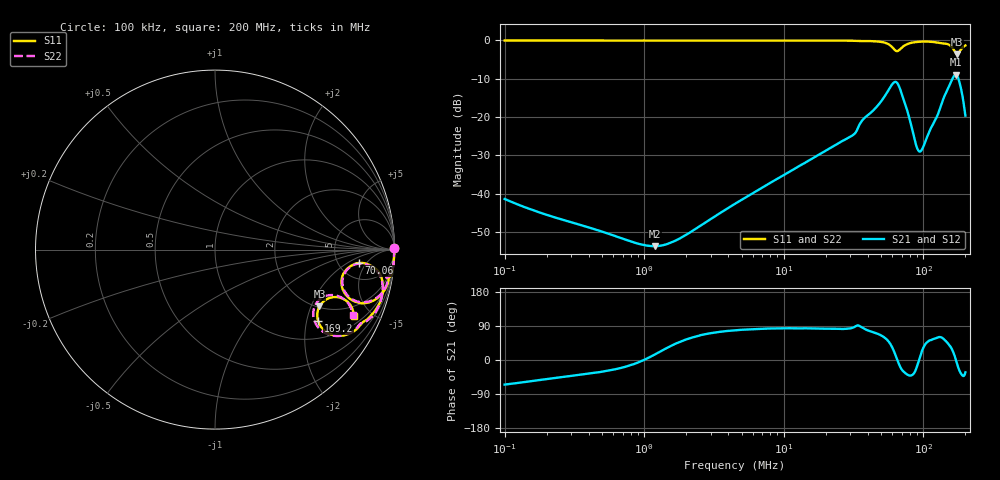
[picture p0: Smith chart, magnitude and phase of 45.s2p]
#  HZ  S  RI  R  50.00
! Rohde & Schwarz Vector Network Analyzer
! Rohde-Schwarz,ZNLE6-2Port,1323001256200024,1.71.1.10-23.02.1.238
! Created: UTC 4/7/2025, 2:43:51 AM
! freq[Hz]  re:S11  im:S11  re:S21  im:S21  re:S12  im:S12  re:S22  im:S22
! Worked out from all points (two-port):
!   1001 points, 100 kHz to 200 MHz, reference 50 ohm
!   highest |S21| = -8.94 dB at 170.5 MHz (marker M1); lowest = -53.7 dB at 1.192 MHz (marker M2)
!   |S21| within 3 dB of the highest: 58.54 MHz to 66.84 MHz (8.301 MHz wide, 13.2 % of centre); 152.9 MHz to 184.3 MHz (31.37 MHz wide, 18.6 % of centre)
!   lowest |S11| = -3.6 dB at 174.4 MHz (marker M3), VSWR 4.92, Z = 102 - j115 ohm
!   |S11| at or under -10 dB: nowhere
!   |S22| runs from -3.9 to 0.0 dB; largest |S21 - S12| = 0.0088
!   S11 on the Smith chart (normalised r, x): 100 kHz: open; 70.06 MHz: 7.90, -3.35; 169.2 MHz: 1.51, -2.34; 200 MHz: 1.41, -3.95
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100000  0.9965 0.00754  0.00361 -0.00771  0.00363 -0.00773  0.9965 0.0074
355854.1  0.997 0.00148  0.00302 -0.0024  0.00303 -0.0024  0.997 0.00145
1191614  0.998 -0.00349  0.00199 0.000515  0.002 0.000519  0.998 -0.00358
1266322  0.998 -0.00389  0.00195 0.000702  0.00196 0.000705  0.9981 -0.00398
1823868  0.9983 -0.00654  0.00174 0.00198  0.00174 0.00198  0.9983 -0.00677
4472136  0.9983 -0.0189  0.00149 0.00721  0.00154 0.00721  0.9983 -0.0194
1.591428e7  0.9954 -0.0687  0.00333 0.0284  0.00353 0.0283  0.9955 -0.0714
3.178196e7  0.9768 -0.1486  0.00387 0.0593  0.00346 0.0594  0.9662 -0.1531
3.67198e7  0.9667 -0.1647  0.0079 0.0914  0.00882 0.0908  0.957 -0.1556
4.647637e7  0.9424 -0.2291  0.0472 0.1287  0.0484 0.1276  0.9428 -0.223
5.663162e7  0.8339 -0.2986  0.154 0.1696  0.1569 0.1657  0.8376 -0.2926
6.347087e7  0.7054 -0.1964  0.2822 0.0524  0.2824 0.0504  0.7109 -0.1964
7.006286e7  0.8032 -0.0742  0.1795 -0.0852  0.178 -0.0895  0.8062 -0.0779
8.86788e7  0.9343 -0.1853  0.0393 -0.0171  0.0395 -0.0183  0.9328 -0.1926
9.495745e7  0.9358 -0.2256  0.0349 0.00631  0.0353 0.00547  0.9334 -0.2346
1.336828e8  0.8292 -0.4  0.0705 0.122  0.0721 0.1198  0.8175 -0.4101
1.55631e8  0.7131 -0.4791  0.2184 0.1606  0.2182 0.1558  0.7043 -0.4786
1.692027e8  0.574 -0.3966  0.3541 0.0368  0.3525 0.0287  0.5535 -0.3953
1.704937e8  0.57 -0.377  0.3572 0.0127  0.3553 0.00434  0.5485 -0.3745
1.744261e8  0.5815 -0.3167  0.3415 -0.0616  0.3385 -0.0698  0.5578 -0.3101
1.83958e8  0.6911 -0.2664  0.2153 -0.1388  0.2111 -0.145  0.6685 -0.2545
2e8  0.7747 -0.3694  0.088 -0.0561  0.0885 -0.0589  0.7679 -0.3658
